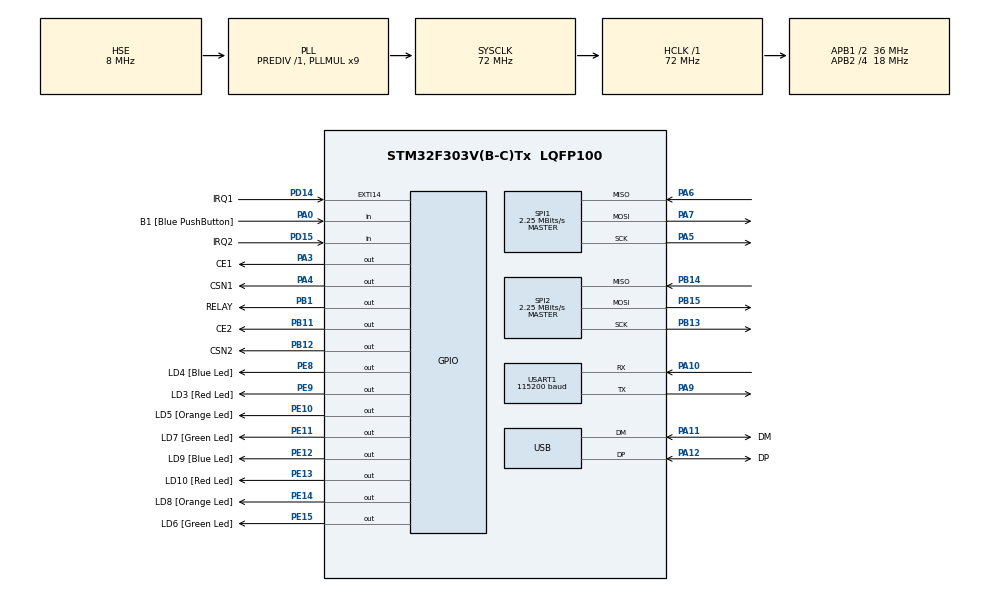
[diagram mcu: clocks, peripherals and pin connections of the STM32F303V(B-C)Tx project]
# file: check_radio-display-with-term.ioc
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Mcu.Family=STM32F3
Mcu.Name=STM32F303V(B-C)Tx
Mcu.Package=LQFP100
NVIC.EXTI15_10_IRQn=true\:0\:0\:false\:false\:true\:true\:true
NVIC.PriorityGroup=NVIC_PRIORITYGROUP_0
PA0.GPIO_Label=B1 [Blue PushButton]
PA0.Signal=GPIO_Input
PA10.Mode=Asynchronous
PA10.Signal=USART1_RX
PA11.GPIO_Label=DM
PA11.Mode=Device
PA11.Signal=USB_DM
PA12.GPIO_Label=DP
PA12.Mode=Device
PA12.Signal=USB_DP
PA13.GPIO_Label=SWDIO
PA13.Mode=Serial_Wire
PA13.Signal=SYS_JTMS-SWDIO
PA14.GPIO_Label=SWCLK
PA14.Mode=Serial_Wire
PA14.Signal=SYS_JTCK-SWCLK
PA3.GPIO_Label=CE1
PA3.Signal=GPIO_Output
PA4.GPIO_Label=CSN1
PA4.Signal=GPIO_Output
PA5.Mode=Full_Duplex_Master
PA5.Signal=SPI1_SCK
PA6.Mode=Full_Duplex_Master
PA6.Signal=SPI1_MISO
PA7.Mode=Full_Duplex_Master
PA7.Signal=SPI1_MOSI
PA9.Mode=Asynchronous
PA9.Signal=USART1_TX
PB1.GPIO_Label=RELAY
PB1.Signal=GPIO_Output
PB11.GPIO_Label=CE2
PB11.Signal=GPIO_Output
PB12.GPIO_Label=CSN2
PB12.Signal=GPIO_Output
PB13.Mode=Full_Duplex_Master
PB13.Signal=SPI2_SCK
PB14.Mode=Full_Duplex_Master
PB14.Signal=SPI2_MISO
PB15.Mode=Full_Duplex_Master
PB15.Signal=SPI2_MOSI
PB3.GPIO_Label=SWO
PB3.Signal=SYS_JTDO-TRACESWO
PC14-OSC32_IN.GPIO_Label=OSC32_IN
PC14-OSC32_IN.Signal=RCC_OSC32_IN
PC15-OSC32_OUT.GPIO_Label=OSC32_OUT
PC15-OSC32_OUT.Signal=RCC_OSC32_OUT
PD14.GPIO_Label=IRQ1
PD14.GPIO_ModeDefaultEXTI=GPIO_MODE_IT_FALLING
PD14.Signal=GPXTI14
PD15.GPIO_Label=IRQ2
PD15.Signal=GPIO_Input
PE10.GPIO_Label=LD5 [Orange Led]
PE10.Signal=GPIO_Output
PE11.GPIO_Label=LD7 [Green Led]
PE11.Signal=GPIO_Output
PE12.GPIO_Label=LD9 [Blue Led]
PE12.Signal=GPIO_Output
PE13.GPIO_Label=LD10 [Red Led]
PE13.Signal=GPIO_Output
PE14.GPIO_Label=LD8 [Orange Led]
PE14.Signal=GPIO_Output
PE15.GPIO_Label=LD6 [Green Led]
PE15.Signal=GPIO_Output
PE8.GPIO_Label=LD4 [Blue Led]
PE8.Signal=GPIO_Output
PE9.GPIO_Label=LD3 [Red Led]
PE9.Signal=GPIO_Output
PF0-OSC_IN.GPIO_Label=OSC_IN
PF0-OSC_IN.Mode=HSE-External-Oscillator
PF0-OSC_IN.Signal=RCC_OSC_IN
PF1-OSC_OUT.GPIO_Label=OSC_OUT
PF1-OSC_OUT.Mode=HSE-External-Oscillator
PF1-OSC_OUT.Signal=RCC_OSC_OUT
ProjectManager.HeapSize=0x200
ProjectManager.StackSize=0x400
ProjectManager.TargetToolchain=MDK-ARM V5
RCC.AHBFreq_Value=72000000
RCC.APB1CLKDivider=RCC_HCLK_DIV2
RCC.APB1Freq_Value=36000000
RCC.APB1TimFreq_Value=72000000
RCC.APB2CLKDivider=RCC_HCLK_DIV4
RCC.APB2Freq_Value=18000000
RCC.APB2TimFreq_Value=36000000
RCC.CortexFreq_Value=72000000
RCC.HCLKFreq_Value=72000000
RCC.HSE_VALUE=8000000
RCC.HSI_VALUE=8000000
RCC.LSE_VALUE=32768
RCC.PLLMUL=RCC_PLL_MUL9
RCC.PRESCALERUSB=RCC_USBCLKSOURCE_PLL_DIV1_5
RCC.SYSCLKFreq_VALUE=72000000
RCC.SYSCLKSourceVirtual=RCC_SYSCLKSOURCE_PLLCLK
RCC.USBFreq_Value=48000000
SPI1.BaudRatePrescaler=SPI_BAUDRATEPRESCALER_8
SPI1.CalculateBaudRate=2.25 MBits/s
SPI1.DataSize=SPI_DATASIZE_8BIT
SPI1.Direction=SPI_DIRECTION_2LINES
SPI1.Mode=SPI_MODE_MASTER
SPI1.VirtualType=VM_MASTER
SPI2.BaudRatePrescaler=SPI_BAUDRATEPRESCALER_16
SPI2.CalculateBaudRate=2.25 MBits/s
SPI2.DataSize=SPI_DATASIZE_8BIT
SPI2.Direction=SPI_DIRECTION_2LINES
SPI2.Mode=SPI_MODE_MASTER
SPI2.VirtualType=VM_MASTER
USART1.BaudRate=115200
USART1.VirtualMode-Asynchronous=VM_ASYNC
board=STM32F3DISCOVERY

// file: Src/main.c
/* USER CODE BEGIN Header */
/**
  ******************************************************************************
  * @file           : main.c
  * @brief          : Main program body
  ******************************************************************************
  * @attention
  *
  * <h2><center>&copy; Copyright (c) 2021 STMicroelectronics.
  * All rights reserved.</center></h2>
  *
  * This software component is licensed by ST under BSD 3-Clause license,
  * the "License"; You may not use this file except in compliance with the
  * License. You may obtain a copy of the License at:
  *                        opensource.org/licenses/BSD-3-Clause
  *
  ******************************************************************************
  */
/* USER CODE END Header */

#include "main.h"

/* USER CODE BEGIN Includes */
#include "NRF24.h"

#include <string.h>
/* USER CODE END Includes */

SPI_HandleTypeDef hspi1;
SPI_HandleTypeDef hspi2;

UART_HandleTypeDef huart1;

PCD_HandleTypeDef hpcd_USB_FS;

/* USER CODE BEGIN PV */
/* Private variables ---------------------------------------------------------*/

char str1[150]={0};
uint8_t receive=0;
uint8_t buf1[1]={0};
/* USER CODE END PV */

void SystemClock_Config(void);
static void MX_GPIO_Init(void);
static void MX_SPI1_Init(void);
static void MX_SPI2_Init(void);
static void MX_USART1_UART_Init(void);
static void MX_USB_PCD_Init(void);

int main(void)
{
  /* USER CODE BEGIN 1 */
	uint8_t dt_reg=0;
	uint8_t retr_cnt, dt;
	uint8_t i=0,receive=0x85;
  /* USER CODE END 1 */

  /* MCU Configuration--------------------------------------------------------*/

  /* Reset of all peripherals, Initializes the Flash interface and the Systick. */
  HAL_Init();

  /* Configure the system clock */
  SystemClock_Config();

  /* Initialize all configured peripherals */
  MX_GPIO_Init();
  MX_SPI1_Init();
  MX_SPI2_Init();
  MX_USART1_UART_Init();
  MX_USB_PCD_Init();
  /* USER CODE BEGIN 2 */
	//LED8_TGL;
	NRF24_ini();
	HAL_Delay(200);
	//NRF24_ini2();
	void HAL_GPIO_EXTI_Callback(uint16_t GPIO_Pin);//receive with interrupt
  /* USER CODE END 2 */

  /* Infinite loop */
  while (1)
  {

    /* USER CODE BEGIN 3 */

//		HAL_Delay(80);
//		LED8_TGL;

		i=0;
		do
		{
			HAL_Delay(1200);
			receive=NRF24L01_Receive();
			i++;
		}
		while (receive!=0x85 && receive!=0x6F && i<15);
		if (receive==0x6F){
			LED7_OFF;
			RELAY_OFF;}

		else if (receive==0x85){
			LED7_ON;
			RELAY_ON;}
		else if (receive==0x00){
			LED2_TGL;}
		else if (receive==0x01){
			LED8_TGL;}

//		else
//			{
//			LED7_ON;
//			RELAY_ON;
//			NRF24_ini();
//}
//		else {
//			LED7_ON;
//			RELAY_ON;
//			NRF24_ini();
//			}

  dt_reg = NRF24_ReadReg(CONFIG);

  sprintf(str1,"CONFIG: 0x%02Xrn",dt_reg);

  /*HAL_UART_Transmit(&huart1,(uint8_t*)str1,strlen(str1),0x1000);

  dt_reg = NRF24_ReadReg(EN_AA);

  sprintf(str1,"EN_AA: 0x%02Xrn",dt_reg);

  HAL_UART_Transmit(&huart1,(uint8_t*)str1,strlen(str1),0x1000);

  dt_reg = NRF24_ReadReg(EN_RXADDR);

  sprintf(str1,"EN_RXADDR: 0x%02Xrn",dt_reg);

  HAL_UART_Transmit(&huart1,(uint8_t*)str1,strlen(str1),0x1000);

  dt_reg = NRF24_ReadReg(STATUS);

  sprintf(str1,"STATUS: 0x%02Xrn",dt_reg);

  HAL_UART_Transmit(&huart1,(uint8_t*)str1,strlen(str1),0x1000);

  dt_reg = NRF24_ReadReg(RF_SETUP);

  sprintf(str1,"RF_SETUP: 0x%02Xrn",dt_reg);

  HAL_UART_Transmit(&huart1,(uint8_t*)str1,strlen(str1),0x1000);

  NRF24_Read_Buf(TX_ADDR,buf1,3);

  sprintf(str1,"TX_ADDR: 0x%02X, 0x%02X, 0x%02Xrn",buf1[0],buf1[1],buf1[2]);

  HAL_UART_Transmit(&huart1,(uint8_t*)str1,strlen(str1),0x1000);

  NRF24_Read_Buf(RX_ADDR_P1,buf1,3);

  sprintf(str1,"RX_ADDR: 0x%02X, 0x%02X, 0x%02Xrn",buf1[0],buf1[1],buf1[2]);

  HAL_UART_Transmit(&huart1,(uint8_t*)str1,strlen(str1),0x1000);
*/
  }
  /* USER CODE END 3 */
}

void SystemClock_Config(void)
{
  RCC_OscInitTypeDef RCC_OscInitStruct = {0};
  RCC_ClkInitTypeDef RCC_ClkInitStruct = {0};
  RCC_PeriphCLKInitTypeDef PeriphClkInit = {0};

  /** Initializes the CPU, AHB and APB busses clocks
  */
  RCC_OscInitStruct.OscillatorType = RCC_OSCILLATORTYPE_HSE;
  RCC_OscInitStruct.HSEState = RCC_HSE_ON;
  RCC_OscInitStruct.HSEPredivValue = RCC_HSE_PREDIV_DIV1;
  RCC_OscInitStruct.HSIState = RCC_HSI_ON;
  RCC_OscInitStruct.PLL.PLLState = RCC_PLL_ON;
  RCC_OscInitStruct.PLL.PLLSource = RCC_PLLSOURCE_HSE;
  RCC_OscInitStruct.PLL.PLLMUL = RCC_PLL_MUL9;
  if (HAL_RCC_OscConfig(&RCC_OscInitStruct) != HAL_OK)
  {
    Error_Handler();
  }
  /** Initializes the CPU, AHB and APB busses clocks
  */
  RCC_ClkInitStruct.ClockType = RCC_CLOCKTYPE_HCLK|RCC_CLOCKTYPE_SYSCLK
                              |RCC_CLOCKTYPE_PCLK1|RCC_CLOCKTYPE_PCLK2;
  RCC_ClkInitStruct.SYSCLKSource = RCC_SYSCLKSOURCE_PLLCLK;
  RCC_ClkInitStruct.AHBCLKDivider = RCC_SYSCLK_DIV1;
  RCC_ClkInitStruct.APB1CLKDivider = RCC_HCLK_DIV2;
  RCC_ClkInitStruct.APB2CLKDivider = RCC_HCLK_DIV4;

  if (HAL_RCC_ClockConfig(&RCC_ClkInitStruct, FLASH_LATENCY_2) != HAL_OK)
  {
    Error_Handler();
  }
  PeriphClkInit.PeriphClockSelection = RCC_PERIPHCLK_USB|RCC_PERIPHCLK_USART1;
  PeriphClkInit.Usart1ClockSelection = RCC_USART1CLKSOURCE_PCLK2;
  PeriphClkInit.USBClockSelection = RCC_USBCLKSOURCE_PLL_DIV1_5;
  if (HAL_RCCEx_PeriphCLKConfig(&PeriphClkInit) != HAL_OK)
  {
    Error_Handler();
  }
}

static void MX_SPI1_Init(void)
{

  /* SPI1 parameter configuration*/
  hspi1.Instance = SPI1;
  hspi1.Init.Mode = SPI_MODE_MASTER;
  hspi1.Init.Direction = SPI_DIRECTION_2LINES;
  hspi1.Init.DataSize = SPI_DATASIZE_8BIT;
  hspi1.Init.CLKPolarity = SPI_POLARITY_LOW;
  hspi1.Init.CLKPhase = SPI_PHASE_1EDGE;
  hspi1.Init.NSS = SPI_NSS_SOFT;
  hspi1.Init.BaudRatePrescaler = SPI_BAUDRATEPRESCALER_8;
  hspi1.Init.FirstBit = SPI_FIRSTBIT_MSB;
  hspi1.Init.TIMode = SPI_TIMODE_DISABLE;
  hspi1.Init.CRCCalculation = SPI_CRCCALCULATION_DISABLE;
  hspi1.Init.CRCPolynomial = 7;
  hspi1.Init.CRCLength = SPI_CRC_LENGTH_DATASIZE;
  hspi1.Init.NSSPMode = SPI_NSS_PULSE_ENABLE;
  if (HAL_SPI_Init(&hspi1) != HAL_OK)
  {
    Error_Handler();
  }

}

static void MX_SPI2_Init(void)
{

  /* SPI2 parameter configuration*/
  hspi2.Instance = SPI2;
  hspi2.Init.Mode = SPI_MODE_MASTER;
  hspi2.Init.Direction = SPI_DIRECTION_2LINES;
  hspi2.Init.DataSize = SPI_DATASIZE_8BIT;
  hspi2.Init.CLKPolarity = SPI_POLARITY_LOW;
  hspi2.Init.CLKPhase = SPI_PHASE_1EDGE;
  hspi2.Init.NSS = SPI_NSS_SOFT;
  hspi2.Init.BaudRatePrescaler = SPI_BAUDRATEPRESCALER_16;
  hspi2.Init.FirstBit = SPI_FIRSTBIT_MSB;
  hspi2.Init.TIMode = SPI_TIMODE_DISABLE;
  hspi2.Init.CRCCalculation = SPI_CRCCALCULATION_DISABLE;
  hspi2.Init.CRCPolynomial = 7;
  hspi2.Init.CRCLength = SPI_CRC_LENGTH_DATASIZE;
  hspi2.Init.NSSPMode = SPI_NSS_PULSE_ENABLE;
  if (HAL_SPI_Init(&hspi2) != HAL_OK)
  {
    Error_Handler();
  }

}

static void MX_USART1_UART_Init(void)
{

  huart1.Instance = USART1;
  huart1.Init.BaudRate = 115200;
  huart1.Init.WordLength = UART_WORDLENGTH_8B;
  huart1.Init.StopBits = UART_STOPBITS_1;
  huart1.Init.Parity = UART_PARITY_NONE;
  huart1.Init.Mode = UART_MODE_TX_RX;
  huart1.Init.HwFlowCtl = UART_HWCONTROL_NONE;
  huart1.Init.OverSampling = UART_OVERSAMPLING_16;
  huart1.Init.OneBitSampling = UART_ONE_BIT_SAMPLE_DISABLE;
  huart1.AdvancedInit.AdvFeatureInit = UART_ADVFEATURE_NO_INIT;
  if (HAL_UART_Init(&huart1) != HAL_OK)
  {
    Error_Handler();
  }

}

static void MX_USB_PCD_Init(void)
{

  hpcd_USB_FS.Instance = USB;
  hpcd_USB_FS.Init.dev_endpoints = 8;
  hpcd_USB_FS.Init.speed = PCD_SPEED_FULL;
  hpcd_USB_FS.Init.phy_itface = PCD_PHY_EMBEDDED;
  hpcd_USB_FS.Init.low_power_enable = DISABLE;
  hpcd_USB_FS.Init.battery_charging_enable = DISABLE;
  if (HAL_PCD_Init(&hpcd_USB_FS) != HAL_OK)
  {
    Error_Handler();
  }

}

static void MX_GPIO_Init(void)
{
  GPIO_InitTypeDef GPIO_InitStruct = {0};

  /* GPIO Ports Clock Enable */
  __HAL_RCC_GPIOC_CLK_ENABLE();
  __HAL_RCC_GPIOF_CLK_ENABLE();
  __HAL_RCC_GPIOA_CLK_ENABLE();
  __HAL_RCC_GPIOB_CLK_ENABLE();
  __HAL_RCC_GPIOE_CLK_ENABLE();
  __HAL_RCC_GPIOD_CLK_ENABLE();

  /*Configure GPIO pin Output Level */
  HAL_GPIO_WritePin(GPIOA, CE1_Pin|CSN1_Pin, GPIO_PIN_RESET);

  /*Configure GPIO pin Output Level */
  HAL_GPIO_WritePin(GPIOB, RELAY_Pin|CE2_Pin|CSN2_Pin, GPIO_PIN_RESET);

  /*Configure GPIO pin Output Level */
  HAL_GPIO_WritePin(GPIOE, LD4_Pin|LD3_Pin|LD5_Pin|LD7_Pin
                          |LD9_Pin|LD10_Pin|LD8_Pin|LD6_Pin, GPIO_PIN_RESET);

  /*Configure GPIO pin : B1_Pin */
  GPIO_InitStruct.Pin = B1_Pin;
  GPIO_InitStruct.Mode = GPIO_MODE_INPUT;
  GPIO_InitStruct.Pull = GPIO_NOPULL;
  HAL_GPIO_Init(B1_GPIO_Port, &GPIO_InitStruct);

  /*Configure GPIO pins : CE1_Pin CSN1_Pin */
  GPIO_InitStruct.Pin = CE1_Pin|CSN1_Pin;
  GPIO_InitStruct.Mode = GPIO_MODE_OUTPUT_PP;
  GPIO_InitStruct.Pull = GPIO_NOPULL;
  GPIO_InitStruct.Speed = GPIO_SPEED_FREQ_LOW;
  HAL_GPIO_Init(GPIOA, &GPIO_InitStruct);

  /*Configure GPIO pins : RELAY_Pin CE2_Pin CSN2_Pin */
  GPIO_InitStruct.Pin = RELAY_Pin|CE2_Pin|CSN2_Pin;
  GPIO_InitStruct.Mode = GPIO_MODE_OUTPUT_PP;
  GPIO_InitStruct.Pull = GPIO_NOPULL;
  GPIO_InitStruct.Speed = GPIO_SPEED_FREQ_LOW;
  HAL_GPIO_Init(GPIOB, &GPIO_InitStruct);

  /*Configure GPIO pins : LD4_Pin LD3_Pin LD5_Pin LD7_Pin
                           LD9_Pin LD10_Pin LD8_Pin LD6_Pin */
  GPIO_InitStruct.Pin = LD4_Pin|LD3_Pin|LD5_Pin|LD7_Pin
                          |LD9_Pin|LD10_Pin|LD8_Pin|LD6_Pin;
  GPIO_InitStruct.Mode = GPIO_MODE_OUTPUT_PP;
  GPIO_InitStruct.Pull = GPIO_NOPULL;
  GPIO_InitStruct.Speed = GPIO_SPEED_FREQ_LOW;
  HAL_GPIO_Init(GPIOE, &GPIO_InitStruct);

  /*Configure GPIO pin : IRQ1_Pin */
  GPIO_InitStruct.Pin = IRQ1_Pin;
  GPIO_InitStruct.Mode = GPIO_MODE_IT_FALLING;
  GPIO_InitStruct.Pull = GPIO_NOPULL;
  HAL_GPIO_Init(IRQ1_GPIO_Port, &GPIO_InitStruct);

  /*Configure GPIO pin : IRQ2_Pin */
  GPIO_InitStruct.Pin = IRQ2_Pin;
  GPIO_InitStruct.Mode = GPIO_MODE_INPUT;
  GPIO_InitStruct.Pull = GPIO_NOPULL;
  HAL_GPIO_Init(IRQ2_GPIO_Port, &GPIO_InitStruct);

  /* EXTI interrupt init*/
  HAL_NVIC_SetPriority(EXTI15_10_IRQn, 0, 0);
  HAL_NVIC_EnableIRQ(EXTI15_10_IRQn);

}

void Error_Handler(void)
{
}

/************************ (C) COPYRIGHT STMicroelectronics *****END OF FILE****/
